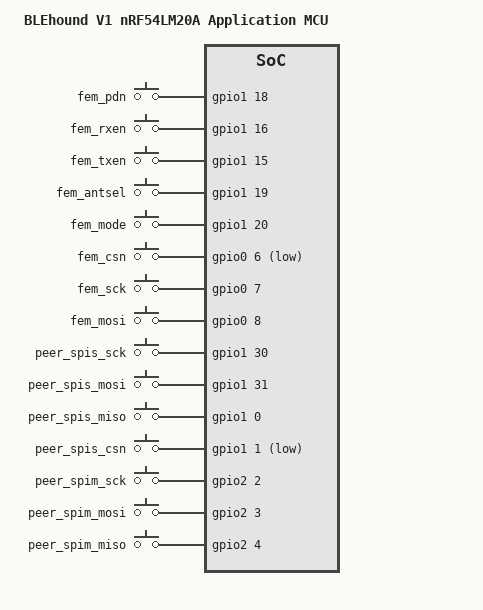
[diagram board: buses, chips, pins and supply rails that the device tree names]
/*
 * BLEhound board definition, derived from the Zephyr nRF54LM20 DK board
 * (boards/nordic/nrf54lm20dk, Copyright (c) 2025 Nordic Semiconductor ASA).
 *
 * SPDX-License-Identifier: Apache-2.0
 */

/dts-v1/;

#include <nordic/nrf54lm20a_cpuapp.dtsi>
#include "../common/blehound_nrf54lm20a_cpuapp_common.dtsi"
#include "pinctrl.dtsi"

/ {
	compatible = "blehound,blehound-v1-nrf54lm20a-cpuapp";
	model = "BLEhound V1 nRF54LM20A Application MCU";

	chosen {
		zephyr,code-partition = &slot0_partition;
		zephyr,sram = &cpuapp_sram;
	};

	/*
	 * nRF21540 FEM control port (one per chip, pure GPIO, no SPI; for the rules see src/fem_ctrl.h).
	 * V1 (first-batch board, 0908): PDN=P1.18 RX_EN=P1.16 TX_EN=P1.15 ANT_SEL=P1.19 MODE=P1.20 CSN=P0.06 SCK=P0.07 MOSI=P0.08.
	 * MISO=P0.09 is **deliberately omitted** -- on some early samples this pin is tied to VDD inside the package,
	 * so the firmware never touches it. SCK/MOSI are only parked (input pull-down) by fem_ctrl.
	 */
	tri_fem {
		compatible = "gpio-keys";
		fem_pdn: fem_pdn {
			gpios = <&gpio1 18 GPIO_ACTIVE_HIGH>;
			zephyr,code = <8>;
		};
		fem_rxen: fem_rxen {
			gpios = <&gpio1 16 GPIO_ACTIVE_HIGH>;
			zephyr,code = <9>;
		};
		fem_txen: fem_txen {
			gpios = <&gpio1 15 GPIO_ACTIVE_HIGH>;
			zephyr,code = <10>;
		};
		fem_antsel: fem_antsel {
			gpios = <&gpio1 19 GPIO_ACTIVE_HIGH>;
			zephyr,code = <11>;
		};
		fem_mode: fem_mode {
			gpios = <&gpio1 20 GPIO_ACTIVE_HIGH>;
			zephyr,code = <12>;
		};
		/* Chip select is active low: fem_ctrl configures OUTPUT_INACTIVE = physical high = never selected. */
		fem_csn: fem_csn {
			gpios = <&gpio0 6 GPIO_ACTIVE_LOW>;
			zephyr,code = <13>;
		};
		fem_sck: fem_sck {
			gpios = <&gpio0 7 GPIO_ACTIVE_HIGH>;
			zephyr,code = <14>;
		};
		fem_mosi: fem_mosi {
			gpios = <&gpio0 8 GPIO_ACTIVE_HIGH>;
			zephyr,code = <15>;
		};
	};

	/*
	 * Inter-chip upstream slave port (SPIS, PERI domain instance spi21; for the link topology see src/peer_link.h).
	 * peer_link drives it through nrfx_spis directly (the pins are taken from these gpio-keys entries and handed to
	 * nrfx, the spi21 node itself stays disabled so Zephyr's SPIS driver does not claim it).
	 * V1 (first-batch board, 0908): SCK=P1.30 (not a datasheet clock pin; works at the 2 MHz used here), MOSI=P1.31 MISO=P1.00 CSN=P1.01.
	 */
	tri_peer_spis {
		compatible = "gpio-keys";
		peer_spis_sck: peer_spis_sck {
			gpios = <&gpio1 30 GPIO_ACTIVE_HIGH>;
			zephyr,code = <16>;
		};
		peer_spis_mosi: peer_spis_mosi {
			gpios = <&gpio1 31 GPIO_ACTIVE_HIGH>;
			zephyr,code = <17>;
		};
		peer_spis_miso: peer_spis_miso {
			gpios = <&gpio1 0 GPIO_ACTIVE_HIGH>;
			zephyr,code = <18>;
		};
		peer_spis_csn: peer_spis_csn {
			gpios = <&gpio1 1 GPIO_ACTIVE_LOW>;
			zephyr,code = <19>;
		};
	};

	/*
	 * Inter-chip downstream master port pins (software SPI master in peer_link; see the common dtsi for why).
	 * V1 (first-batch board, 0908): SCK=P2.02 MOSI=P2.03 MISO=P2.04 (bit-banged; P2.02 is not a clock pin).
	 */
	tri_peer_spim {
		compatible = "gpio-keys";
		peer_spim_sck: peer_spim_sck {
			gpios = <&gpio2 2 GPIO_ACTIVE_HIGH>;
			zephyr,code = <20>;
		};
		peer_spim_mosi: peer_spim_mosi {
			gpios = <&gpio2 3 GPIO_ACTIVE_HIGH>;
			zephyr,code = <21>;
		};
		peer_spim_miso: peer_spim_miso {
			gpios = <&gpio2 4 GPIO_ACTIVE_HIGH>;
			zephyr,code = <22>;
		};
	};

	aliases {
		tri-spis-sck = &peer_spis_sck;
		tri-spis-mosi = &peer_spis_mosi;
		tri-spis-miso = &peer_spis_miso;
		tri-spis-csn = &peer_spis_csn;
		tri-spim-sck = &peer_spim_sck;
		tri-spim-mosi = &peer_spim_mosi;
		tri-spim-miso = &peer_spim_miso;
	};
};

/* Upstream slave port instance: SPIS binding so nrfx's SPIS driver is selectable, kept disabled on purpose. */
&spi21 {
	compatible = "nordic,nrf-spis";
	/delete-property/ rx-delay-supported;
	/delete-property/ rx-delay;
	def-char = <0>;
	status = "disabled";
};

/* Include default memory partition configuration file */
#include <vendor/nordic/nrf54lm20a_cpuapp_partition.dtsi>
